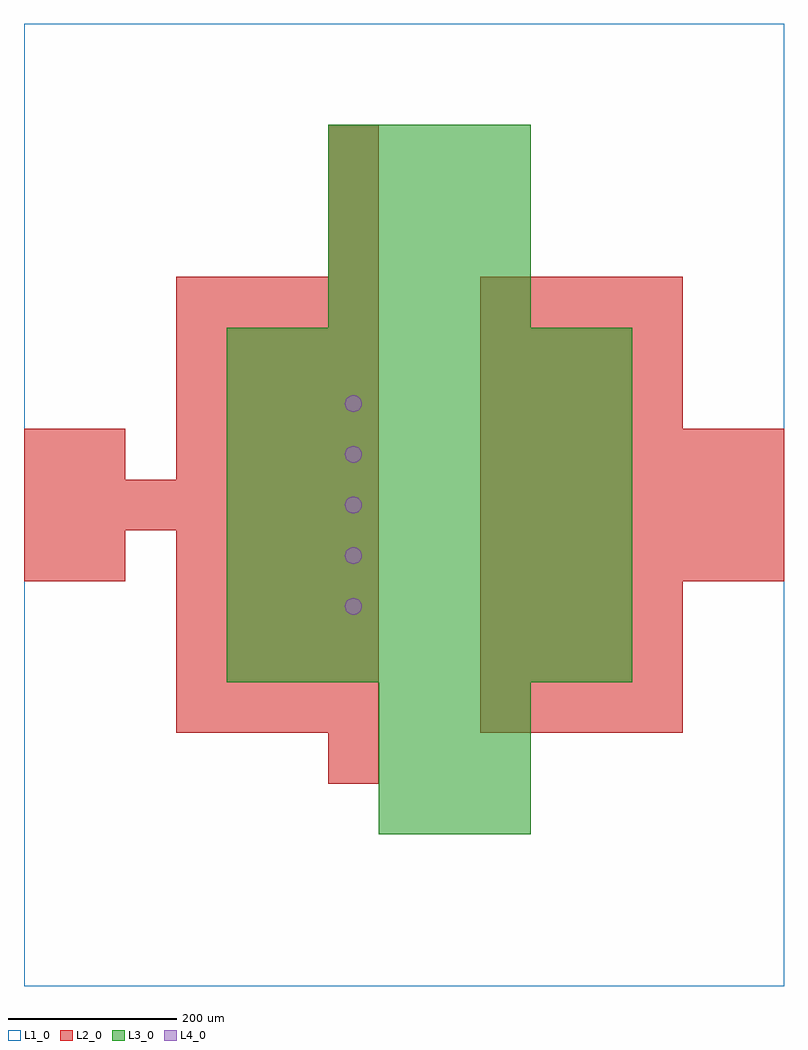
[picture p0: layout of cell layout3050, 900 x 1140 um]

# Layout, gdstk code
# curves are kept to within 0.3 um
import gdstk
lib = gdstk.Library(unit=1e-6, precision=1e-09)
def R(c, l, rs):  # rectangles x0, y0, x1, y1
    for r in rs: c.add(gdstk.rectangle(r[:2], r[2:], *l))
def A(c, l, x, y, w, h, nx, ny, dx, dy):  # array of equal rectangles
    R(c, l, [(x+i*dx, y+j*dy, x+i*dx+w, y+j*dy+h) for i in range(nx) for j in range(ny)])
def P(c, l, *ps):  # polygons
    for p in ps: c.add(gdstk.Polygon(p, *l))
L1_0 = (1, 0)
L2_0 = (2, 0)
L3_0 = (3, 0)
L4_0 = (4, 0)

layout3050 = lib.new_cell('layout3050')
R(layout3050, L1_0, [(0,0,900,1140)])
A(layout3050, L2_0, 180, 300, 60, 60, 4, 4, 60, 60)
A(layout3050, L2_0, 540, 300, 60, 60, 4, 3, 60, 60)
A(layout3050, L2_0, 540, 480, 60, 60, 6, 3, 60, 60)
A(layout3050, L2_0, 0, 540, 60, 60, 7, 1, 60, 0)
A(layout3050, L2_0, 180, 600, 60, 60, 4, 4, 60, 60)
A(layout3050, L2_0, 540, 660, 60, 60, 4, 3, 60, 60)
A(layout3050, L2_0, 360, 840, 60, 60, 1, 3, 0, 60)
R(layout3050, L2_0, [(360,240,420,300), (0,480,60,540), (60,480,120,540), (0,600,60,660), (60,600,120,660)])
A(layout3050, L3_0, 420, 180, 60, 60, 3, 3, 60, 60)
A(layout3050, L3_0, 240, 360, 60, 60, 8, 7, 60, 60)
A(layout3050, L3_0, 360, 780, 60, 60, 4, 4, 60, 60)
P(layout3050, L4_0, [(400,450),(399.239,453.827),(397.071,457.071),(393.827,459.239),(390,460),(386.173,459.239),(382.929,457.071),(380.761,453.827),(380,450),(380.761,446.173),(382.929,442.929),(386.173,440.761),(390,440),(393.827,440.761),(397.071,442.929),(399.239,446.173)],
  [(400,510),(399.239,513.827),(397.071,517.071),(393.827,519.239),(390,520),(386.173,519.239),(382.929,517.071),(380.761,513.827),(380,510),(380.761,506.173),(382.929,502.929),(386.173,500.761),(390,500),(393.827,500.761),(397.071,502.929),(399.239,506.173)],
  [(400,570),(399.239,573.827),(397.071,577.071),(393.827,579.239),(390,580),(386.173,579.239),(382.929,577.071),(380.761,573.827),(380,570),(380.761,566.173),(382.929,562.929),(386.173,560.761),(390,560),(393.827,560.761),(397.071,562.929),(399.239,566.173)],
  [(400,630),(399.239,633.827),(397.071,637.071),(393.827,639.239),(390,640),(386.173,639.239),(382.929,637.071),(380.761,633.827),(380,630),(380.761,626.173),(382.929,622.929),(386.173,620.761),(390,620),(393.827,620.761),(397.071,622.929),(399.239,626.173)],
  [(400,690),(399.239,693.827),(397.071,697.071),(393.827,699.239),(390,700),(386.173,699.239),(382.929,697.071),(380.761,693.827),(380,690),(380.761,686.173),(382.929,682.929),(386.173,680.761),(390,680),(393.827,680.761),(397.071,682.929),(399.239,686.173)])

lib.write_gds('layout3050.gds')
